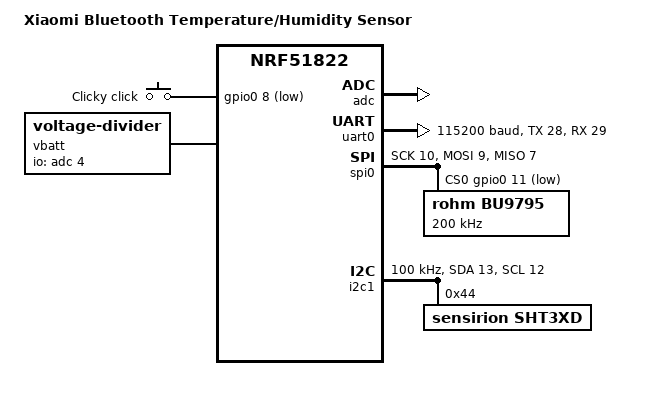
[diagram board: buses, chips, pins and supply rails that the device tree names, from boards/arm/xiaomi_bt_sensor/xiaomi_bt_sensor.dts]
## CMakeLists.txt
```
# SPDX-License-Identifier: Apache-2.0

cmake_minimum_required(VERSION 3.13.1)

if(USE_DEV_BOARD)
  set(CONF_FILE prj.conf;boards/xiaomi_bt_sensor_dev.conf)
  set(DTC_OVERLAY_FILE boards/xiaomi_bt_sensor_dev.overlay)
endif()

list(APPEND ZEPHYR_EXTRA_MODULES
  ${CMAKE_CURRENT_SOURCE_DIR}/drivers/BU9795
  )

list(APPEND SYSCALL_INCLUDE_DIRS
  ${CMAKE_CURRENT_SOURCE_DIR}/drivers/BU9795/zephyr
  )

# Because our out of tree driver has it's own bindings, we need to include it in the DTS_ROOT
list(APPEND DTS_ROOT
  ${CMAKE_CURRENT_SOURCE_DIR}/drivers/BU9795/zephyr)

# Must define custom board before including boilerplate
set(BOARD_ROOT ${CMAKE_CURRENT_LIST_DIR})
set(BOARD xiaomi_bt_sensor)

include($ENV{ZEPHYR_BASE}/cmake/app/boilerplate.cmake NO_POLICY_SCOPE)


project(onoff-app)

FILE(GLOB app_sources src/*.c)
target_sources(app PRIVATE ${app_sources})
```

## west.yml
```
manifest:
  remotes:
    - name: zephyrproject-rtos
      url-base: https://github.com/zephyrproject-rtos

  projects:
    - name: zephyr
      remote: zephyrproject-rtos
      revision: v2.2.0
      import: true

  self:
    path: app
```

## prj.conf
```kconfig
# Enable C++ support
CONFIG_NEWLIB_LIBC=y
CONFIG_CPLUSPLUS=y
CONFIG_LIB_CPLUSPLUS=y
CONFIG_STD_CPP17=y

CONFIG_BOOT_BANNER=y

CONFIG_LOG=y
CONFIG_SHELL=y
CONFIG_KERNEL_SHELL=y
CONFIG_DEVICE_SHELL=y

CONFIG_BT=y
CONFIG_BT_SMP=y
CONFIG_BT_BONDABLE=y
CONFIG_BT_SHELL=y
CONFIG_BT_PERIPHERAL=y
CONFIG_BT_DEVICE_NAME="Xiaomi MeshTemp"
CONFIG_BT_GATT_DIS=y
CONFIG_BT_GATT_BAS=y
```

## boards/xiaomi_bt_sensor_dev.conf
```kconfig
CONFIG_SOC_NRF51822_QFAA=n
CONFIG_SOC_NRF51822_QFAC=y
```

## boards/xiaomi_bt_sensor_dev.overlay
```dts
// Our modded board has a nRF51822_QFAC instead of a QFAA.
#include <nordic/nrf51822_qfac.dtsi>

/ {
	model = "Xiaomi Bluetooth Temperature/Humidity Sensor (development)";
	compatible = "nordic,nrf51822-qfac", "nordic,nrf51822";

	chosen {
		// Update Zephyr to use 32KB of SRAM instad of 16KB previously selected in the .dts file
		zephyr,sram = &sram0;
	};
};

// Because ofthe #include statement above, we need to re-enable peripherals
&gpiote {
	status ="okay";
};

&adc {
	status = "okay";
};

&gpio0 {
	status ="okay";
};

&uart0 {
	status = "okay";
};

&spi0 {
	status = "okay";
};

&i2c1 {
	status = "okay";
};
```

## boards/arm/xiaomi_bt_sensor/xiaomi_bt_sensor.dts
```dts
/*
 * Copyright (c) 2017 VNG IoT Lab Limited
 *
 * SPDX-License-Identifier: Apache-2.0
 */

/dts-v1/;
#include <nordic/nrf51822_qfaa.dtsi>

/ {
	model = "Xiaomi Bluetooth Temperature/Humidity Sensor";
	compatible = "nordic,nrf51822-qfaa", "nordic,nrf51822";

	chosen {
		zephyr,console = &uart0;
		zephyr,shell-uart = &uart0;
		zephyr,uart-mcumgr = &uart0;
		zephyr,sram = &sram0;
		zephyr,flash = &flash0;
	};

	aliases {
		sw0 = &button0;
		segment0 = &segment0;
		sensor0 = &sensor0;
		vbatt = &vbatt;
  };

	buttons {
		compatible = "gpio-keys";
		button0: button_0 {
			gpios = <&gpio0 8 (GPIO_ACTIVE_LOW | GPIO_PULL_UP)>;
			label = "Clicky click";
		};
	};

	vbatt: vbatt {
		compatible = "voltage-divider";
		io-channels = <&adc 4>;
		output-ohms = <180000>;
		full-ohms = <(180000 + 180000)>;
	};
};

&adc {
	status = "okay";
};

&gpiote {
	status ="ok";
};

&gpio0 {
	status ="ok";
};

&uart0 {
	compatible = "nordic,nrf-uart";
	current-speed = <115200>;
	status = "okay";

	tx-pin = <28>;
	rx-pin = <29>;
};

&spi0 {
	status = "okay";
	sck-pin = <10>;
	mosi-pin = <9>;
	// TODO: figure out if a MISO pin has been used
	miso-pin = <7>; // Assign to an unused pin for now
	miso-pull-down;
	cs-gpios = <&gpio0 11 GPIO_ACTIVE_LOW>;

	segment0: segment@0 {
		compatible = "rohm,bu9795";
		status = "okay";
		spi-max-frequency = <200000>;
		label = "BU9795";
		reg = <0>;
	};
};

&i2c1 {
	status = "okay";
	sda-pin = <13>;
	scl-pin = <12>;

	clock-frequency = <100000>;

	sensor0: sht3xd@44 {
		compatible = "sensirion,sht3xd";
		status = "okay";
		label = "SHT3XD";
		reg = <0x44>;
	};
};

&flash0 {
	/*
	 * For more information, see:
	 * http://docs.zephyrproject.org/latest/guides/dts/index.html#flash-partitions
	 */
	partitions {
		compatible = "fixed-partitions";
		#address-cells = <1>;
		#size-cells = <1>;

		boot_partition: partition@0 {
			label = "mcuboot";
			reg = <0x00000000 0x8000>;
		};
		slot0_partition: partition@8000 {
			label = "image-0";
			reg = <0x00008000 0x1a000>;
		};
		slot1_partition: partition@22000 {
			label = "image-1";
			reg = <0x00022000 0x1a000>;
		};
		scratch_partition: partition@3c000 {
			label = "image-scratch";
			reg = <0x0003c000 0x2000>;
		};
		storage_partition: partition@3e000 {
			label = "storage";
			reg = <0x0003e000 0x00002000>;
		};
	};
};
```

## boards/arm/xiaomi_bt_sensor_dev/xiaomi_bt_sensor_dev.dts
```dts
/*
 * Copyright (c) 2017 VNG IoT Lab Limited
 *
 * SPDX-License-Identifier: Apache-2.0
 */

/dts-v1/;
#include <nordic/nrf51822_qfac.dtsi>

/ {
	model = "Xiaomi Bluetooth Temperature/Humidity Sensor";
	compatible = "nordic,nrf51822-qfac", "nordic,nrf51822";

	chosen {
		zephyr,console = &uart0;
		zephyr,shell-uart = &uart0;
		zephyr,uart-mcumgr = &uart0;
		zephyr,sram = &sram0;
		zephyr,flash = &flash0;
	};

	aliases {
		sw0 = &button0;
		segment0 = &segment0;
  };

	buttons {
		compatible = "gpio-keys";
		button0: button_0 {
			gpios = <&gpio0 8 (GPIO_ACTIVE_LOW | GPIO_PULL_UP)>;
			label = "Clicky click";
		};
	};
};

&gpiote {
	status ="ok";
};

&gpio0 {
	status ="ok";
};

&uart0 {
	compatible = "nordic,nrf-uart";
	current-speed = <115200>;
	status = "okay";

	tx-pin = <28>;
	rx-pin = <29>;
};

&spi0 {
	status = "okay";
	sck-pin = <10>;
	mosi-pin = <9>;
	// TODO: figure out if a MISO pin has been used
	miso-pin = <27>; // Assign to an unused pin for now
	cs-gpios = <&gpio0 11 0>;

	segment0: segment@0 {
		compatible = "rohm,bu9795";
		status = "okay";
		spi-max-frequency = <2000000>;
		label = "BU9795";
		reg = <0>;
	};
};

&flash0 {
	/*
	 * For more information, see:
	 * http://docs.zephyrproject.org/latest/guides/dts/index.html#flash-partitions
	 */
	partitions {
		compatible = "fixed-partitions";
		#address-cells = <1>;
		#size-cells = <1>;

		boot_partition: partition@0 {
			label = "mcuboot";
			reg = <0x00000000 0x8000>;
		};
		slot0_partition: partition@8000 {
			label = "image-0";
			reg = <0x00008000 0x1a000>;
		};
		slot1_partition: partition@22000 {
			label = "image-1";
			reg = <0x00022000 0x1a000>;
		};
		scratch_partition: partition@3c000 {
			label = "image-scratch";
			reg = <0x0003c000 0x2000>;
		};
		storage_partition: partition@3e000 {
			label = "storage";
			reg = <0x0003e000 0x00002000>;
		};
	};
};
```

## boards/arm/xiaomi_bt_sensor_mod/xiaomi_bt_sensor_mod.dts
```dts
/*
 * Copyright (c) 2017 VNG IoT Lab Limited
 *
 * SPDX-License-Identifier: Apache-2.0
 */

/dts-v1/;
#include <nordic/nrf51822_qfac.dtsi>

/ {
	model = "Xiaomi Bluetooth Temperature/Humidity Sensor";
	compatible = "nordic,nrf51822-qfac", "nordic,nrf51822";

	chosen {
		/* zephyr,console = &uart0; */
		/* zephyr,shell-uart = &uart0; */
		/* zephyr,bt-mon-uart = &uart0; */
		zephyr,sram = &sram0;
		zephyr,flash = &flash0;
	};

	/* These aliases are provided for compatibility with samples */

	aliases {
		/* led0 = &led0; */
		sw0 = &button0;
  };
  /*
	leds {
		compatible = "gpio-leds";
		led0: led_0 {
			gpios = <&gpio0 7 0>;
			label = "LED";
		};
	};
  */

	buttons {
		/* Push button switch 0 KEY1 */
		compatible = "gpio-keys";
		button0: button_0 {
			/* gpio flags need validation */
			gpios = <&gpio0 8 GPIO_INT_ACTIVE_LOW>;
			label = "Clicky click";
		};
	};
};

&gpiote {
	status ="ok";
};

&gpio0 {
	status ="ok";
};

/*
&uart0 {
	current-speed = <115200>;
	status = "ok";
	tx-pin = <10>;
	rx-pin = <11>;
	rts-pin = <12>;
	cts-pin = <13>;
};
*/
/*

&i2c0 {
	status = "ok";
	clock-frequency = <I2C_BITRATE_FAST>;
	sda-pin = <29>;
	scl-pin = <30>;
};

*/

&flash0 {
	/*
	 * For more information, see:
	 * http://docs.zephyrproject.org/latest/guides/dts/index.html#flash-partitions
	 */
	partitions {
		compatible = "fixed-partitions";
		#address-cells = <1>;
		#size-cells = <1>;

		boot_partition: partition@0 {
			label = "mcuboot";
			reg = <0x00000000 0x8000>;
		};
		slot0_partition: partition@8000 {
			label = "image-0";
			reg = <0x00008000 0x1a000>;
		};
		slot1_partition: partition@22000 {
			label = "image-1";
			reg = <0x00022000 0x1a000>;
		};
		scratch_partition: partition@3c000 {
			label = "image-scratch";
			reg = <0x0003c000 0x2000>;
		};
		storage_partition: partition@3e000 {
			label = "storage";
			reg = <0x0003e000 0x00002000>;
		};
	};
};
```

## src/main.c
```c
/* main.c - Application main entry point */

#include <stdio.h>

#include <zephyr.h>
#include <device.h>
#include <drivers/gpio.h>
#include <drivers/sensor.h>
#include <sys/printk.h>
#include <bluetooth/bluetooth.h>

#include <logging/log.h>
LOG_MODULE_REGISTER(main, LOG_LEVEL_DBG);

#include "battery.h"
#include "display.h"
#include "sensor.h"
#include "bluetooth.h"

static struct gpio_callback button_cb_data;

struct device *dev_button = NULL;

static bool allow_bonding = false;

void button_pressed(struct device *dev, struct gpio_callback *cb, u32_t pins)
{
    LOG_INF("Button pressed at %" PRIu32, k_cycle_get_32());
    allow_bonding = true;
}

void main(void)
{
    int ret;
    bool bluetooth_enabled = false;
    u32_t loop_count = 0;

    LOG_INF("Hello world!");

    dev_button = device_get_binding(DT_ALIAS_SW0_GPIOS_CONTROLLER);
    if (dev_button == NULL) {
        LOG_ERR("Didn't find %s device", DT_ALIAS_SW0_GPIOS_CONTROLLER);
        return;
    }

    ret = gpio_pin_configure(dev_button, DT_ALIAS_SW0_GPIOS_PIN, DT_ALIAS_SW0_GPIOS_FLAGS | GPIO_INPUT);
    if (ret != 0) {
        LOG_ERR("Failed to configure pin %d '%s' (Error %d)", DT_ALIAS_SW0_GPIOS_PIN, DT_ALIAS_SW0_LABEL, ret);
        return;
    }

    ret = gpio_pin_interrupt_configure(dev_button, DT_ALIAS_SW0_GPIOS_PIN, GPIO_INT_EDGE_TO_ACTIVE);
    if (ret != 0) {
        LOG_ERR("Failed to configure interrupt on pin %d '%s' (Error %d)", DT_ALIAS_SW0_GPIOS_PIN, DT_ALIAS_SW0_LABEL, ret);
        return;
    }

    gpio_init_callback(&button_cb_data, button_pressed, BIT(DT_ALIAS_SW0_GPIOS_PIN));
    gpio_add_callback(dev_button, &button_cb_data);


    ret = bt_enable(NULL);
	if (ret != 0) {
		LOG_ERR("Bluetooth init failed (Error %d)", ret);
	} else {
        bluetooth_ready();
        bluetooth_enabled = true;
    }

    LOG_INF("Press %s on the board", DT_ALIAS_SW0_LABEL);

    struct sensor_value temp, hum;

    display_set_symbols(DISPLAY_SYMBOL_HORIZONTAL_RULE);

    while(1)
    {
        if (bluetooth_enabled){
            if(allow_bonding){
                bluetooth_set_bonding(true);
                allow_bonding = false;
            }

            if (bluetooth_get_bonding() && (loop_count % 2 == 0)) {
                display_clear_symbols(DISPLAY_SYMBOL_BLUETOOTH);
            }else {
                display_set_symbols(DISPLAY_SYMBOL_BLUETOOTH);
            }

        }
        int batt_mV = battery_sample();

		if (batt_mV >= 0)
        {
            int batt_pptt = battery_level_pptt(batt_mV, alkaline_level_point) / 100;
            LOG_INF("Battery: %d%% (%d.%03dV)", batt_pptt, batt_mV / 1000, batt_mV % 1000);

            display_set_battery(batt_pptt);
            bluetooth_update_battery(batt_pptt);
        }
        else
        {
			LOG_ERR("Failed to read battery voltage: %d", batt_mV);
        }

        if (update_sensor(&temp, &hum) == 0)
        {
            LOG_INF("Sensor: %d.%d°C, %d.%d%%RH",
                temp.val1, temp.val2 / 100000,
                hum.val1, hum.val2 / 100000);

            display_set_symbols(DISPLAY_SYMBOL_CELSIUS | DISPLAY_SYMBOL_HUMIDITY);
            display_set_temperature(&temp);
            display_set_humidity(&hum);

            bluetooth_update_temperature((temp.val1 * 100) + (temp.val2 / 10000));
            bluetooth_update_humidity((hum.val1 * 100) + (hum.val2 / 10000));
        }

        k_sleep(1000);
        loop_count++;
    }
}
```

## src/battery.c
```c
/*
 * Copyright (c) 2018-2019 Peter Bigot Consulting, LLC
 * Copyright (c) 2019 Nordic Semiconductor ASA
 *
 * SPDX-License-Identifier: Apache-2.0
 */

#include <math.h>
#include <stdio.h>
#include <stdlib.h>

#include <zephyr.h>
#include <init.h>
#include <drivers/gpio.h>
#include <drivers/adc.h>
#include <drivers/sensor.h>
#include <logging/log.h>

#include "battery.h"

LOG_MODULE_REGISTER(battery, LOG_LEVEL_INF);

#define BATTERY_ADC_GAIN ADC_GAIN_1_3

struct io_channel_config {
	const char *label;
	u8_t channel;
};

struct gpio_channel_config {
	const char *label;
	u8_t pin;
	u8_t flags;
};

struct divider_config {
	const struct io_channel_config io_channel;
	const struct gpio_channel_config power_gpios;
	const u32_t output_ohm;
	const u32_t full_ohm;
};

static const struct divider_config divider_config = {
	.io_channel = DT_VOLTAGE_DIVIDER_VBATT_IO_CHANNELS,
#ifdef DT_VOLTAGE_DIVIDER_VBATT_POWER_GPIOS
	.power_gpios = DT_VOLTAGE_DIVIDER_VBATT_POWER_GPIOS,
#endif
	.output_ohm = DT_VOLTAGE_DIVIDER_VBATT_OUTPUT_OHMS,
	.full_ohm = DT_VOLTAGE_DIVIDER_VBATT_FULL_OHMS,
};

struct divider_data {
	struct device *adc_device;
	struct device *gpio_device;
	struct adc_channel_cfg adc_config;
	struct adc_sequence adc_sequence;
	s16_t raw;
};
static struct divider_data divider_data;

const struct battery_level_point alkaline_level_point[] = {
	{ 10000, 1490 },
	{ 9000, 1350 },
	{ 8000, 1270 },
	{ 7000, 1200 },
	{ 6000, 1160 },
	{ 5000, 1120 },
	{ 4000, 1100 },
	{ 3000, 1080 },
	{ 2000, 1040 },
	{ 1000, 980 },
	{ 0, 620 },
};

static int divider_setup(void)
{
	const struct divider_config *config = &divider_config;
	const struct io_channel_config *io_channel = &config->io_channel;
	const struct gpio_channel_config *gpio_config = &config->power_gpios;
	struct adc_sequence *sequence = &divider_data.adc_sequence;
	struct adc_channel_cfg *channel_cfg = &divider_data.adc_config;
	int rc;

	divider_data.adc_device = device_get_binding(io_channel->label);
	if (divider_data.adc_device == NULL) {
		LOG_ERR("Failed to get ADC %s", io_channel->label);
		return -ENOENT;
	}

	if (gpio_config->label) {
		divider_data.gpio_device = device_get_binding(gpio_config->label);
		if (divider_data.gpio_device == NULL) {
			LOG_ERR("Failed to get GPIO %s", gpio_config->label);
			return -ENOENT;
		}
		rc = gpio_pin_configure(divider_data.gpio_device, gpio_config->pin,
					GPIO_OUTPUT_INACTIVE | gpio_config->flags);
		if (rc != 0) {
			LOG_ERR("Failed to control feed %s.%u: %d",
				gpio_config->label, gpio_config->pin, rc);
			return rc;
		}
	}

#ifdef CONFIG_ADC_NRFX_SAADC
	*sequence = (struct adc_sequence){
		.channels = BIT(0),
		.buffer = &divider_data->raw,
		.buffer_size = sizeof(divider_data->raw),
		.oversampling = 4,
		.calibrate = true,
	};

	*channel_cfg = (struct adc_channel_cfg){
		.gain = BATTERY_ADC_GAIN,
		.reference = ADC_REF_INTERNAL,
		.acquisition_time = ADC_ACQ_TIME(ADC_ACQ_TIME_MICROSECONDS, 40),
		.input_positive = SAADC_CH_PSELP_PSELP_AnalogInput0 + iocp->channel,
	};

	sequence->resolution = 14;
#elif defined(CONFIG_ADC_NRFX_ADC)
	*sequence = (struct adc_sequence){
		.channels = BIT(0),
		.buffer = &divider_data.raw,
		.buffer_size = sizeof(divider_data.raw),
		.oversampling = 0,
		.calibrate = true,
	    .resolution = 10,
	};

	*channel_cfg = (struct adc_channel_cfg){
        .acquisition_time = ADC_ACQ_TIME_DEFAULT,
		.gain = BATTERY_ADC_GAIN,
		.reference = ADC_REF_INTERNAL,
        .channel_id = 0,
#if CONFIG_ADC_CONFIGURABLE_INPUTS
		.input_positive = BIT(io_channel->channel), // Why is this a bit value?
#endif
	};
#else /* CONFIG_ADC_var */
#error Unsupported ADC
#endif /* CONFIG_ADC_var */

	rc = adc_channel_setup(divider_data.adc_device, channel_cfg);
    Z_LOG(rc < 0 ? LOG_LEVEL_ERR : LOG_LEVEL_DBG, "Setup AIN%u got %d", io_channel->channel, rc);

	return rc;
}

static bool battery_ok;

static int battery_setup(struct device *arg)
{
	int rc = divider_setup();

	battery_ok = (rc == 0);
	LOG_DBG("Battery setup: %d %d", rc, battery_ok);
	return rc;
}

SYS_INIT(battery_setup, APPLICATION, CONFIG_APPLICATION_INIT_PRIORITY);

int battery_measure_enable(bool enable)
{
	int rc = -ENOENT;

	if (battery_ok) {
		const struct divider_data *data = &divider_data;
		const struct gpio_channel_config *gpio_config = &divider_config.power_gpios;

		rc = 0;
		if (data->gpio_device) {
			rc = gpio_pin_set(data->gpio_device, gpio_config->pin, enable);
		}
	}
	return rc;
}

int battery_sample(void)
{
	int rc = -ENOENT;

	if (battery_ok) {
		struct divider_data *data = &divider_data;
		const struct divider_config *config = &divider_config;
		struct adc_sequence *sequence = &data->adc_sequence;

		rc = adc_read(data->adc_device, sequence);
		sequence->calibrate = false;
		if (rc == 0) {
			s32_t val = data->raw;

			adc_raw_to_millivolts(adc_ref_internal(data->adc_device),
					      data->adc_config.gain,
					      sequence->resolution,
					      &val);
			rc = val * (u64_t)config->full_ohm / config->output_ohm;
			LOG_DBG("raw %u ~ %u mV => %d mV",
				data->raw, val, rc);
		}
	}

	return rc;
}

unsigned int battery_level_pptt(unsigned int batt_mV,
				const struct battery_level_point *curve)
{
	const struct battery_level_point *pb = curve;

	if (batt_mV >= pb->lvl_mV) {
		/* Measured voltage above highest point, cap at maximum. */
		return pb->lvl_pptt;
	}
	/* Go down to the last point at or below the measured voltage. */
	while ((pb->lvl_pptt > 0)
	       && (batt_mV < pb->lvl_mV)) {
		++pb;
	}
	if (batt_mV < pb->lvl_mV) {
		/* Below lowest point, cap at minimum */
		return pb->lvl_pptt;
	}

	/* Linear interpolation between below and above points. */
	const struct battery_level_point *pa = pb - 1;

	return pb->lvl_pptt
	       + ((pa->lvl_pptt - pb->lvl_pptt)
		  * (batt_mV - pb->lvl_mV)
		  / (pa->lvl_mV - pb->lvl_mV));
}
```

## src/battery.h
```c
/*
 * Copyright (c) 2018-2019 Peter Bigot Consulting, LLC
 *
 * SPDX-License-Identifier: Apache-2.0
 */

#ifndef APPLICATION_BATTERY_H_
#define APPLICATION_BATTERY_H_

/** Enable or disable measurement of the battery voltage.
 *
 * @param enable true to enable, false to disable
 *
 * @return zero on success, or a negative error code.
 */
int battery_measure_enable(bool enable);

/** Measure the battery voltage.
 *
 * @return the battery voltage in millivolts, or a negative error
 * code.
 */
int battery_sample(void);

/** A point in a battery discharge curve sequence.
 *
 * A discharge curve is defined as a sequence of these points, where
 * the first point has #lvl_pptt set to 10000 and the last point has
 * #lvl_pptt set to zero.  Both #lvl_pptt and #lvl_mV should be
 * monotonic decreasing within the sequence.
 */
struct battery_level_point {
	/** Remaining life at #lvl_mV. */
	u16_t lvl_pptt;

	/** Battery voltage at #lvl_pptt remaining life. */
	u16_t lvl_mV;
};

extern const struct battery_level_point alkaline_level_point[];

/** Calculate the estimated battery level based on a measured voltage.
 *
 * @param batt_mV a measured battery voltage level.
 *
 * @param curve the discharge curve for the type of battery installed
 * on the system.
 *
 * @return the estimated remaining capacity in parts per ten
 * thousand.
 */
unsigned int battery_level_pptt(unsigned int batt_mV,
				const struct battery_level_point *curve);

#endif /* APPLICATION_BATTERY_H_ */
```

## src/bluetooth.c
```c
#include <zephyr/types.h>
#include <stddef.h>
#include <string.h>
#include <errno.h>
#include <sys/printk.h>
#include <sys/byteorder.h>
#include <zephyr.h>

#include <bluetooth/bluetooth.h>
#include <bluetooth/hci.h>
#include <bluetooth/conn.h>
#include <bluetooth/uuid.h>
#include <bluetooth/gatt.h>
#include <bluetooth/services/bas.h>

#include <logging/log.h>
LOG_MODULE_REGISTER(bluetooth, LOG_LEVEL_INF);

/* ESS error definitions */
#define ESS_ERR_WRITE_REJECT    0x80
#define ESS_ERR_COND_NOT_SUPP   0x81

/* ESS Trigger Setting conditions */
#define ESS_TRIGGER_INACTIVE                0x00
#define ESS_FIXED_TIME_INTERVAL             0x01
#define ESS_NO_LESS_THAN_SPECIFIED_TIME     0x02
#define ESS_VALUE_CHANGED                   0x03
#define ESS_LESS_THAN_REF_VALUE             0x04
#define ESS_LESS_OR_EQUAL_TO_REF_VALUE      0x05
#define ESS_GREATER_THAN_REF_VALUE          0x06
#define ESS_GREATER_OR_EQUAL_TO_REF_VALUE   0x07
#define ESS_EQUAL_TO_REF_VALUE              0x08
#define ESS_NOT_EQUAL_TO_REF_VALUE          0x09

#if CONFIG_BT_SHELL
extern
#endif
struct bt_conn *default_conn;

static bool allow_bonding = false;

static const struct bt_data bluettoth_advertise_data[] = {
	BT_DATA_BYTES(BT_DATA_FLAGS, (BT_LE_AD_GENERAL | BT_LE_AD_NO_BREDR)),
	BT_DATA_BYTES(BT_DATA_UUID16_ALL,
		      0x1a, 0x18, /* Environmental Sensing Service */
		      0x0a, 0x18, /* Device Information Service */
		      0x0f, 0x18), /* Battery Service */
};

static void bluetooth_connected(struct bt_conn *conn, u8_t err)
{
	if (err) {
		LOG_WRN("Connection failed (err 0x%02x)", err);
	} else {
		default_conn = bt_conn_ref(conn);
		LOG_INF("Bluetooth connected");
	}

    if (bt_conn_set_security(conn, BT_SECURITY_L3)) {
        printk("Failed to set security\n");
    }
}

static void bluetooth_disconnected(struct bt_conn *conn, u8_t reason)
{
	LOG_INF("Disconnected (reason 0x%02x)", reason);

	if (default_conn) {
		bt_conn_unref(default_conn);
		default_conn = NULL;
	}
}

static struct bt_conn_cb bluetooth_connection_callbacks = {
	.connected = bluetooth_connected,
	.disconnected = bluetooth_disconnected,
};

static void auth_confirm(struct bt_conn *conn)
{
    if(allow_bonding){
        bt_conn_auth_pairing_confirm(conn);
    } else {
        bt_conn_auth_cancel(conn);
    }
    allow_bonding = false;
}

static void auth_cancel(struct bt_conn *conn)
{
	char addr[BT_ADDR_LE_STR_LEN];

	bt_addr_le_to_str(bt_conn_get_dst(conn), addr, sizeof(addr));

	LOG_WRN("Pairing cancelled: %s", addr);
}

static void pairing_failed(struct bt_conn *conn, enum bt_security_err reason)
{
	LOG_WRN("Pairing Failed (%d)", reason);
}

static struct bt_conn_auth_cb bluetooth_auth_cb_display = {
	.cancel = auth_cancel,
    .pairing_confirm = auth_confirm,
    .pairing_failed = pairing_failed,
    .passkey_display = NULL,
    .passkey_entry = NULL,
    .passkey_confirm = NULL,
};

void bluetooth_ready()
{
	int ret;

	ret = bt_le_adv_start(BT_LE_ADV_CONN_NAME, bluettoth_advertise_data, ARRAY_SIZE(bluettoth_advertise_data), NULL, 0);
	if (ret < 0) {
		LOG_ERR("Advertising failed to start (%d)", ret);
		return;
	}

	LOG_DBG("Advertising successfully started");

    bt_conn_cb_register(&bluetooth_connection_callbacks);
	bt_conn_auth_cb_register(&bluetooth_auth_cb_display);

	LOG_DBG("Initialized");
}

void bluetooth_update_battery(u8_t level)
{
#if CONFIG_BT_GATT_BAS
    bt_gatt_bas_set_battery_level(level);
#endif
}

void bluetooth_set_bonding(bool allow) {
    allow_bonding = allow;
}

bool bluetooth_get_bonding() {
    return allow_bonding;
}
```

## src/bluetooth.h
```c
#pragma once

void bluetooth_ready(void);
void bluetooth_set_bonding(bool allow);
bool bluetooth_get_bonding();

void bluetooth_update_battery(u8_t level);

void bluetooth_update_temperature(u16_t value);
void bluetooth_update_humidity(u16_t value);
```

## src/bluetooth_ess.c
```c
#include <zephyr/types.h>
#include <stddef.h>
#include <string.h>
#include <errno.h>
#include <sys/printk.h>
#include <sys/byteorder.h>
#include <zephyr.h>

#include <bluetooth/bluetooth.h>
#include <bluetooth/hci.h>
#include <bluetooth/conn.h>
#include <bluetooth/uuid.h>
#include <bluetooth/gatt.h>
#include <bluetooth/services/bas.h>

#include <logging/log.h>
LOG_MODULE_REGISTER(bluetooth_ess_service, LOG_LEVEL_INF);

// ESS error definitions
#define ESS_ERR_WRITE_REJECT    0x80
#define ESS_ERR_COND_NOT_SUPP   0x81

// ESS Trigger Setting conditions
#define ESS_TRIGGER_INACTIVE                0x00
#define ESS_FIXED_TIME_INTERVAL             0x01
#define ESS_NO_LESS_THAN_SPECIFIED_TIME     0x02
#define ESS_VALUE_CHANGED                   0x03
#define ESS_LESS_THAN_REF_VALUE             0x04
#define ESS_LESS_OR_EQUAL_TO_REF_VALUE      0x05
#define ESS_GREATER_THAN_REF_VALUE          0x06
#define ESS_GREATER_OR_EQUAL_TO_REF_VALUE   0x07
#define ESS_EQUAL_TO_REF_VALUE              0x08
#define ESS_NOT_EQUAL_TO_REF_VALUE          0x09

#define ESS_MEASUREMENT_FLAG_NOTIFY_MEASUREMENT BIT(1)

extern struct bt_conn *default_conn;

struct es_measurement {
    // Reserved for Future Use
    u16_t flags;
    u8_t sampling_func;
    u32_t meas_period;
    u32_t update_interval;
    u8_t application;
    u8_t meas_uncertainty;
};

struct ess_sensor {
    s16_t value;

    // Valid Range
    s16_t lower_limit;
    s16_t upper_limit;

    // ES trigger setting - Value Notification condition
    u8_t condition;
    u16_t ccc;
    union {
        u32_t seconds;
        // Reference temperature
        s16_t ref_val;
    };

    struct es_measurement meas;
};

#define SENSOR_TEMPERATURE_NAME "Temperature"

static struct ess_sensor sensor_temp = {
    .value = 1200,
    .lower_limit = 0,
    .upper_limit = 6500,
    .condition = ESS_VALUE_CHANGED,
    .meas.sampling_func = 0x01,
    .meas.meas_period = 0x00,
    .meas.update_interval = 1,
    .meas.application = 0x01,
    .meas.meas_uncertainty = 0x01,
};

#define SENSOR_Humidity_NAME "Humidity"

static struct ess_sensor sensor_humid = {
    .value = 5000,
    .lower_limit = 0,
    .upper_limit = 10000,
    .condition = ESS_VALUE_CHANGED,
    .meas.sampling_func = 0x01,
    .meas.meas_period = 0x00,
    .meas.update_interval = 1,
    .meas.application = 0x01,
    .meas.meas_uncertainty = 0x01,
};


static ssize_t read_u16(struct bt_conn *conn, const struct bt_gatt_attr *attr, void *buf, u16_t len, u16_t offset)
{
	const u16_t *u16 = attr->user_data;
	u16_t value = sys_cpu_to_le16(*u16);

	return bt_gatt_attr_read(conn, attr, buf, len, offset, &value, sizeof(value));
}

static void humid_ccc_cfg_changed(const struct bt_gatt_attr *attr, u16_t value)
{
    sensor_humid.ccc = value;
}
static void temp_ccc_cfg_changed(const struct bt_gatt_attr *attr, u16_t value)
{
    sensor_temp.ccc = value;
}

struct read_es_measurement_rp {
    // Reserved for Future Use
    u16_t flags;
    u8_t sampling_function;
    u8_t measurement_period[3];
    u8_t update_interval[3];
    u8_t application;
    u8_t measurement_uncertainty;
} __packed;

static ssize_t read_es_measurement(struct bt_conn *conn, const struct bt_gatt_attr *attr, void *buf, u16_t len, u16_t offset)
{
    const struct es_measurement *value = attr->user_data;
    struct read_es_measurement_rp rsp;

    rsp.flags = sys_cpu_to_le16(value->flags);
    rsp.sampling_function = value->sampling_func;
    sys_put_le24(value->meas_period, rsp.measurement_period);
    sys_put_le24(value->update_interval, rsp.update_interval);
    rsp.application = value->application;
    rsp.measurement_uncertainty = value->meas_uncertainty;

    return bt_gatt_attr_read(conn, attr, buf, len, offset, &rsp, sizeof(rsp));
}

static ssize_t read_ess_valid_range(struct bt_conn *conn, const struct bt_gatt_attr *attr, void *buf, u16_t len, u16_t offset)
{
    const struct ess_sensor *sensor = attr->user_data;
    u16_t tmp[] = {
        sys_cpu_to_le16(sensor->lower_limit),
        sys_cpu_to_le16(sensor->upper_limit)
    };

    return bt_gatt_attr_read(conn, attr, buf, len, offset, tmp, sizeof(tmp));
}

struct es_trigger_setting_seconds {
    u8_t condition;
    u8_t sec[3];
} __packed;

struct es_trigger_setting_reference {
    u8_t condition;
    s16_t ref_val;
} __packed;

static ssize_t read_ess_trigger_setting(struct bt_conn *conn, const struct bt_gatt_attr *attr, void *buf, u16_t len, u16_t offset)
{
    const struct ess_sensor *sensor = attr->user_data;
    struct es_trigger_setting_reference settings_reference;
    struct es_trigger_setting_seconds settings_seconds;

    switch (sensor->condition) {
        // Operand N/A
        case ESS_TRIGGER_INACTIVE: // fallthrough
        case ESS_VALUE_CHANGED:
            return bt_gatt_attr_read(conn, attr, buf, len, offset, &sensor->condition, sizeof(sensor->condition));
        // Seconds
        case ESS_FIXED_TIME_INTERVAL: // fallthrough
        case ESS_NO_LESS_THAN_SPECIFIED_TIME:

            settings_seconds.condition = sensor->condition;
            sys_put_le24(sensor->seconds, settings_seconds.sec);

            return bt_gatt_attr_read(conn, attr, buf, len, offset, &settings_seconds, sizeof(settings_seconds));

        // Reference temperature
        default:

            settings_reference.condition = sensor->condition;
            settings_reference.ref_val = sys_cpu_to_le16(sensor->ref_val);

            return bt_gatt_attr_read(conn, attr, buf, len, offset, &settings_reference, sizeof(settings_reference));
    }
}

static bool check_condition(u8_t condition, s16_t old_val, s16_t new_val, s16_t ref_val)
{
    switch (condition) {
        case ESS_TRIGGER_INACTIVE:
            return false;
        case ESS_FIXED_TIME_INTERVAL:
        case ESS_NO_LESS_THAN_SPECIFIED_TIME:
            // TODO: Check time requirements
            return false;
        case ESS_VALUE_CHANGED:
            return new_val != old_val;
        case ESS_LESS_THAN_REF_VALUE:
            return new_val < ref_val;
        case ESS_LESS_OR_EQUAL_TO_REF_VALUE:
            return new_val <= ref_val;
        case ESS_GREATER_THAN_REF_VALUE:
            return new_val > ref_val;
        case ESS_GREATER_OR_EQUAL_TO_REF_VALUE:
            return new_val >= ref_val;
        case ESS_EQUAL_TO_REF_VALUE:
            return new_val == ref_val;
        case ESS_NOT_EQUAL_TO_REF_VALUE:
            return new_val != ref_val;
        default:
            return false;
    }
}

static void update_ess_value(struct bt_conn *conn, const struct bt_gatt_attr *chrc, s16_t value, struct ess_sensor *sensor)
{
    if(sensor == &sensor_temp){
        LOG_DBG("Updating temperature");
    } else if (sensor == &sensor_humid){
        LOG_DBG("Updating humidity");
    } else {
        LOG_DBG("I don't know what i'm updateing 🤷‍♀️");
    }

    bool notify = check_condition(sensor->condition, sensor->value, value, sensor->ref_val);
    LOG_DBG("Condition: %02X, Ref: %d, Old Value: %d, New Value: %d => %s", sensor->condition, sensor->ref_val, sensor->value, value, notify ? "true" : "false");

    // Update temperature value
    sensor->value = value;

    // Trigger notification if conditions are met
    if (notify){
        if (sensor->ccc == BT_GATT_CCC_NOTIFY) {
            value = sys_cpu_to_le16(sensor->value);

            bt_gatt_notify(conn, chrc, &value, sizeof(value));
        }
    }
}

BT_GATT_SERVICE_DEFINE(ess,
    BT_GATT_PRIMARY_SERVICE(BT_UUID_ESS),

    // Temperature Sensor
    BT_GATT_CHARACTERISTIC(BT_UUID_TEMPERATURE,
                   BT_GATT_CHRC_READ | BT_GATT_CHRC_NOTIFY,
                   BT_GATT_PERM_READ_ENCRYPT,
                   read_u16, NULL, &sensor_temp.value),
    BT_GATT_DESCRIPTOR(BT_UUID_ES_MEASUREMENT, BT_GATT_PERM_READ_ENCRYPT,
               read_es_measurement, NULL, &sensor_temp.meas),
    BT_GATT_CUD(SENSOR_TEMPERATURE_NAME, BT_GATT_PERM_READ_ENCRYPT),
    BT_GATT_DESCRIPTOR(BT_UUID_VALID_RANGE, BT_GATT_PERM_READ_ENCRYPT,
               read_ess_valid_range, NULL, &sensor_temp),
    BT_GATT_DESCRIPTOR(BT_UUID_ES_TRIGGER_SETTING,
               BT_GATT_PERM_READ_ENCRYPT, read_ess_trigger_setting,
               NULL, &sensor_temp),
    BT_GATT_CCC(temp_ccc_cfg_changed,
            BT_GATT_PERM_READ_ENCRYPT | BT_GATT_PERM_WRITE_ENCRYPT),

    // Humidity Sensor
	BT_GATT_CHARACTERISTIC(BT_UUID_HUMIDITY,
			       BT_GATT_CHRC_READ | BT_GATT_CHRC_NOTIFY,
			       BT_GATT_PERM_READ_ENCRYPT,
			       read_u16, NULL, &sensor_humid.value),
	BT_GATT_DESCRIPTOR(BT_UUID_ES_MEASUREMENT, BT_GATT_PERM_READ_ENCRYPT,
			   read_es_measurement, NULL, &sensor_humid.meas),
	BT_GATT_CUD(SENSOR_Humidity_NAME, BT_GATT_PERM_READ_ENCRYPT),
	BT_GATT_DESCRIPTOR(BT_UUID_VALID_RANGE, BT_GATT_PERM_READ_ENCRYPT,
			   read_ess_valid_range, NULL, &sensor_humid),
	BT_GATT_DESCRIPTOR(BT_UUID_ES_TRIGGER_SETTING,
			   BT_GATT_PERM_READ_ENCRYPT, read_ess_trigger_setting,
			   NULL, &sensor_humid),
	BT_GATT_CCC(humid_ccc_cfg_changed,
		    BT_GATT_PERM_READ_ENCRYPT | BT_GATT_PERM_WRITE_ENCRYPT),
);

void bluetooth_update_temperature(u16_t value)
{
    update_ess_value(default_conn, &ess.attrs[2], value, &sensor_temp);
}

void bluetooth_update_humidity(u16_t value)
{
    update_ess_value(default_conn, &ess.attrs[8], value, &sensor_humid);
}
```

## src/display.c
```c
#include <zephyr.h>
#include <init.h>
#include <logging/log.h>
LOG_MODULE_REGISTER(display, LOG_LEVEL_DBG);

// TODO: Abstract this API to a generic segmented display
#include <bu9795_driver.h>

#include "display.h"


static struct device *dev_segment = NULL;
static u32_t set_symbols = 0;

int display_set_temperature(const struct sensor_value *value)
{
    if (dev_segment == NULL) {
        return -ENOENT;
    }

    if (value == NULL) {
        // TODO: disable decimal point
        bu9795_set_segment(dev_segment, 0, -1);
        bu9795_set_segment(dev_segment, 1, -1);
        bu9795_set_segment(dev_segment, 2, -1);
        display_clear_symbols(DISPLAY_SYMBOL_TEMPERATURE_DECIMAL);
    } else {
        bu9795_set_segment(dev_segment, 0, value->val1 / 10);
        bu9795_set_segment(dev_segment, 1, value->val1 % 10);
        bu9795_set_segment(dev_segment, 2, value->val2 / 100000);
        display_set_symbols(DISPLAY_SYMBOL_TEMPERATURE_DECIMAL);
    }

    bu9795_flush(dev_segment);
    return 0;
}

int display_set_humidity(const struct sensor_value *value)
{
    if (dev_segment == NULL) {
        return -ENOENT;
    }

    if (value == NULL) {
        // TODO: disable decimal point
        bu9795_set_segment(dev_segment, 3, -1);
        bu9795_set_segment(dev_segment, 4, -1);
        bu9795_set_segment(dev_segment, 5, -1);
        display_clear_symbols(DISPLAY_SYMBOL_HUMIDITY_DECIMAL);
    } else {
        bu9795_set_segment(dev_segment, 3, value->val1 / 10);
        bu9795_set_segment(dev_segment, 4, value->val1 % 10);
        bu9795_set_segment(dev_segment, 5, value->val2 / 100000);
        display_set_symbols(DISPLAY_SYMBOL_HUMIDITY_DECIMAL);
    }

    bu9795_flush(dev_segment);
    return 0;
}

int display_set_battery(int percent)
{
    if (dev_segment == NULL) {
        return -ENOENT;
    }

    if (percent > 80) {
        bu9795_set_segment(dev_segment, 6, 6);
    } else if (percent > 60) {
        bu9795_set_segment(dev_segment, 6, 5);
    } else if (percent > 40) {
        bu9795_set_segment(dev_segment, 6, 4);
    } else if (percent > 20) {
        bu9795_set_segment(dev_segment, 6, 3);
    } else if (percent > 0) {
        bu9795_set_segment(dev_segment, 6, 2);
    } else {
        bu9795_set_segment(dev_segment, 6, 1);
    }

    bu9795_flush(dev_segment);
    return 0;
}

int display_set_symbols(u8_t symbols)
{
    u32_t old_symbols = set_symbols;
    set_symbols |= symbols;

    if (dev_segment == NULL) {
        return -ENOENT;
    }

    if (set_symbols != old_symbols) {
        bu9795_set_symbol(dev_segment, set_symbols);
        bu9795_flush(dev_segment);
    }
    return 0;
}

int display_clear_symbols(u8_t symbols)
{
    u32_t old_symbols = set_symbols;
    set_symbols &= ~symbols;

    if (dev_segment == NULL) {
        return -ENOENT;
    }

    if (set_symbols != old_symbols) {
        bu9795_set_symbol(dev_segment, set_symbols);
        bu9795_flush(dev_segment);
    }
    return 0;
}

static int display_setup(struct device *arg)
{
	dev_segment = device_get_binding(DT_ALIAS_SEGMENT0_LABEL);
    if (dev_segment == NULL) {
        LOG_ERR("Didn't find %s device", DT_ALIAS_SEGMENT0_LABEL);
        return -ENOENT;
    }
    LOG_DBG("Found display device %s", DT_ALIAS_SEGMENT0_LABEL);

    display_set_temperature(NULL);

    display_clear_symbols(DISPLAY_SYMBOL_ALL);

    // Default the battery logo to empty
    display_set_battery(0);

    return 0;
}

SYS_INIT(display_setup, APPLICATION, CONFIG_APPLICATION_INIT_PRIORITY);
```

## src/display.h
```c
#pragma once

#include <zephyr/types.h>
#include <drivers/sensor.h>

enum display_symbols {
    DISPLAY_SYMBOL_TEMPERATURE_DECIMAL = 0x01,
    DISPLAY_SYMBOL_BLUETOOTH = 0x02,
    DISPLAY_SYMBOL_CELSIUS = 0x04,
    DISPLAY_SYMBOL_HORIZONTAL_RULE = 0x08,
    DISPLAY_SYMBOL_HUMIDITY_DECIMAL = 0x10,
    DISPLAY_SYMBOL_HUMIDITY = 0x20,
    DISPLAY_SYMBOL_ALL = 0xFF,

};

int display_set_temperature(const struct sensor_value *value);
int display_set_humidity(const struct sensor_value *value);
int display_set_battery(int percent);
int display_set_symbols(u8_t symbols);
int display_clear_symbols(u8_t symbols);
```

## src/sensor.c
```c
#include <zephyr.h>
#include <device.h>
#include <init.h>
#include <drivers/sensor.h>

#include <logging/log.h>
LOG_MODULE_REGISTER(sensor, LOG_LEVEL_INF);

struct device *dev_sensor = NULL;

int update_sensor(struct sensor_value *temp, struct sensor_value *hum)
{
    if(dev_sensor == NULL)
    {
        return -ENOENT;
    }

    LOG_DBG("Fetching sensor data");
    int ret = sensor_sample_fetch(dev_sensor);
    if (ret)
    {
        LOG_ERR("Could not get fetch sample from %s, errno: %d", dev_sensor->config->name, ret);
        return ret;
    }

    LOG_DBG("Getting SENSOR_CHAN_AMBIENT_TEMP");
    ret = sensor_channel_get(dev_sensor, SENSOR_CHAN_AMBIENT_TEMP, temp);
    if (ret)
    {
        LOG_ERR("Could not get SENSOR_CHAN_AMBIENT_TEMP from %s, errno: %d", dev_sensor->config->name, ret);
        return ret;
    }

    LOG_DBG("Getting SENSOR_CHAN_HUMIDITY");
    ret = sensor_channel_get(dev_sensor, SENSOR_CHAN_HUMIDITY, hum);
    if(ret)
    {
        LOG_ERR("Could not get SENSOR_CHAN_HUMIDITY from %s, errno: %d", dev_sensor->config->name, ret);
        return ret;
    }

    LOG_DBG("Sensor updated");

    return 0;
}

static int sensor_init(struct device *dev)
{
    ARG_UNUSED(dev);

    dev_sensor = device_get_binding(DT_ALIAS_SENSOR0_LABEL);
    if (dev_sensor == NULL) {
        LOG_ERR("Didn't find %s device", DT_ALIAS_SENSOR0_LABEL);
    }

    return 0;
}

SYS_INIT(sensor_init, APPLICATION, CONFIG_APPLICATION_INIT_PRIORITY);
```

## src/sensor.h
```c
#ifndef _APPLICATION_SENSOR_H_
#define _APPLICATION_SENSOR_H_

int update_sensor(struct sensor_value *temp, struct sensor_value *hum);

#endif // _APPLICATION_SENSOR_H_
```
